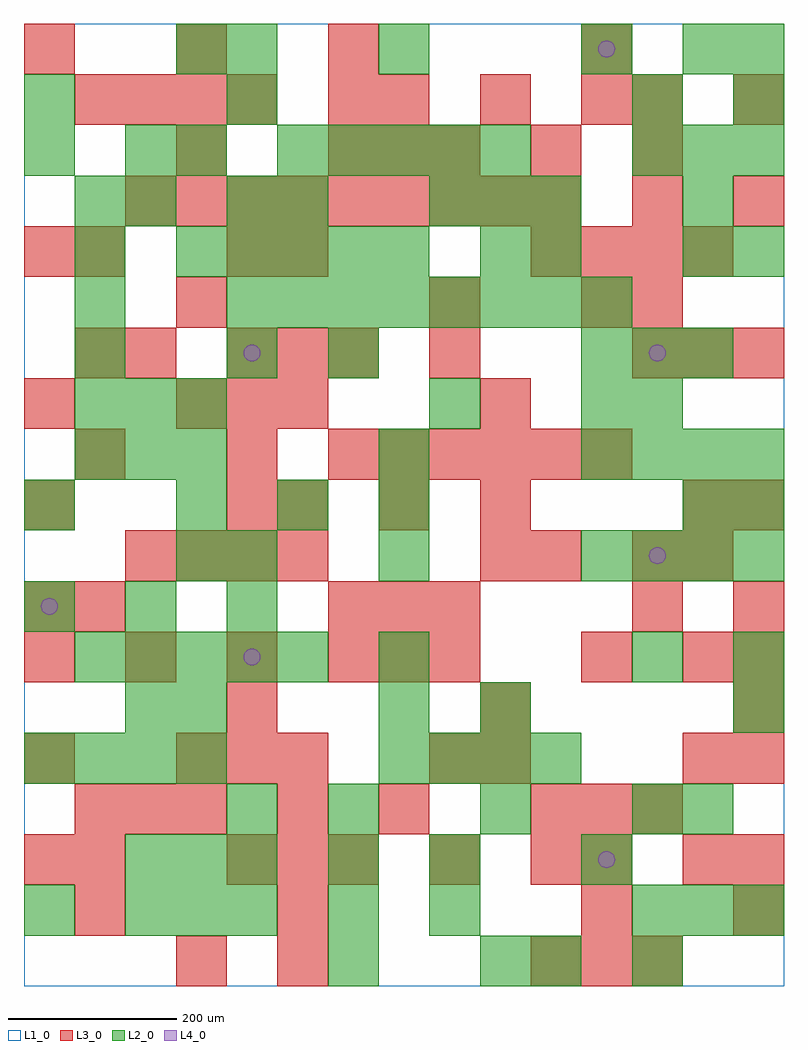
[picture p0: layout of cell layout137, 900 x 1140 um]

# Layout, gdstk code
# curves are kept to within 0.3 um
import gdstk
lib = gdstk.Library(unit=1e-6, precision=1e-09)
def R(c, l, rs):  # rectangles x0, y0, x1, y1
    for r in rs: c.add(gdstk.rectangle(r[:2], r[2:], *l))
def A(c, l, x, y, w, h, nx, ny, dx, dy):  # array of equal rectangles
    R(c, l, [(x+i*dx, y+j*dy, x+i*dx+w, y+j*dy+h) for i in range(nx) for j in range(ny)])
def P(c, l, *ps):  # polygons
    for p in ps: c.add(gdstk.Polygon(p, *l))
L1_0 = (1, 0)
L2_0 = (2, 0)
L3_0 = (3, 0)
L4_0 = (4, 0)

layout137 = lib.new_cell('layout137')
R(layout137, L1_0, [(0,0,900,1140)])
A(layout137, L2_0, 360, 0, 60, 60, 1, 3, 0, 60)
A(layout137, L2_0, 120, 60, 60, 60, 3, 2, 60, 60)
A(layout137, L2_0, 720, 60, 60, 60, 3, 2, 60, 900)
A(layout137, L2_0, 360, 180, 60, 60, 3, 1, 180, 0)
A(layout137, L2_0, 0, 240, 60, 60, 4, 1, 60, 0)
A(layout137, L2_0, 420, 240, 60, 60, 4, 1, 60, 0)
A(layout137, L2_0, 60, 360, 60, 60, 5, 1, 60, 0)
A(layout137, L2_0, 420, 360, 60, 60, 1, 3, 0, 120)
A(layout137, L2_0, 0, 420, 60, 60, 3, 1, 120, 0)
A(layout137, L2_0, 660, 480, 60, 60, 4, 2, 60, 120)
A(layout137, L2_0, 180, 540, 60, 60, 3, 1, 120, 0)
A(layout137, L2_0, 60, 600, 60, 60, 3, 2, 60, 60)
A(layout137, L2_0, 60, 720, 60, 60, 1, 4, 0, 60)
A(layout137, L2_0, 660, 720, 60, 60, 3, 1, 60, 0)
A(layout137, L2_0, 240, 780, 60, 60, 8, 1, 60, 0)
A(layout137, L2_0, 180, 840, 60, 60, 5, 1, 60, 0)
A(layout137, L2_0, 480, 900, 60, 60, 3, 1, 60, 0)
A(layout137, L2_0, 300, 960, 60, 60, 5, 1, 60, 0)
R(layout137, L2_0, [(540,0,600,60), (600,0,660,60), (720,0,780,60), (0,60,60,120), (480,60,540,120), (480,120,540,180), (660,120,720,180), (240,180,300,240), (780,180,840,240), (120,300,180,360), (180,300,240,360), (420,300,480,360), (540,300,600,360), (840,300,900,360), (720,360,780,420), (840,360,900,420), (180,480,240,540), (240,480,300,540), (0,540,60,600), (780,540,840,600), (840,540,900,600), (480,660,540,720), (660,660,720,720), (720,660,780,720), (240,720,300,780), (360,720,420,780), (540,840,600,900), (600,840,660,900), (780,840,840,900), (840,840,900,900), (120,900,180,960), (240,900,300,960), (300,900,360,960), (780,900,840,960), (0,960,60,1020), (120,960,180,1020), (180,960,240,1020), (0,1020,60,1080), (240,1020,300,1080), (720,1020,780,1080), (840,1020,900,1080), (180,1080,240,1140), (240,1080,300,1140), (420,1080,480,1140), (660,1080,720,1140), (780,1080,840,1140), (840,1080,900,1140)])
A(layout137, L3_0, 600, 0, 60, 60, 3, 2, 60, 180)
A(layout137, L3_0, 240, 120, 60, 60, 3, 2, 60, 600)
A(layout137, L3_0, 480, 120, 60, 60, 1, 3, 0, 120)
A(layout137, L3_0, 780, 120, 60, 60, 1, 4, 0, 120)
A(layout137, L3_0, 840, 120, 60, 60, 1, 3, 0, 120)
A(layout137, L3_0, 60, 180, 60, 60, 3, 1, 60, 0)
A(layout137, L3_0, 180, 240, 60, 60, 3, 2, 60, 420)
A(layout137, L3_0, 240, 300, 60, 60, 3, 1, 300, 0)
A(layout137, L3_0, 0, 360, 60, 60, 4, 1, 120, 0)
A(layout137, L3_0, 0, 420, 60, 60, 1, 3, 0, 120)
A(layout137, L3_0, 360, 420, 60, 60, 3, 2, 60, 540)
A(layout137, L3_0, 120, 480, 60, 60, 4, 1, 60, 0)
A(layout137, L3_0, 300, 540, 60, 60, 3, 1, 120, 0)
A(layout137, L3_0, 60, 600, 60, 60, 1, 3, 0, 120)
A(layout137, L3_0, 360, 600, 60, 60, 6, 1, 60, 0)
A(layout137, L3_0, 720, 720, 60, 60, 3, 1, 60, 0)
A(layout137, L3_0, 600, 840, 60, 60, 4, 1, 60, 0)
A(layout137, L3_0, 120, 900, 60, 60, 9, 1, 60, 0)
A(layout137, L3_0, 720, 900, 60, 60, 1, 3, 0, 60)
A(layout137, L3_0, 60, 1020, 60, 60, 4, 1, 60, 0)
A(layout137, L3_0, 420, 1020, 60, 60, 3, 1, 120, 0)
A(layout137, L3_0, 0, 1080, 60, 60, 3, 1, 180, 0)
R(layout137, L3_0, [(180,0,240,60), (300,0,360,60), (60,60,120,120), (300,60,360,120), (660,60,720,120), (840,60,900,120), (0,120,60,180), (60,120,120,180), (600,120,660,180), (660,120,720,180), (300,180,360,240), (420,180,480,240), (0,240,60,300), (540,240,600,300), (420,360,480,420), (660,360,720,420), (60,420,120,480), (720,420,780,480), (840,420,900,480), (540,480,600,540), (600,480,660,540), (720,480,780,540), (240,540,300,600), (780,540,840,600), (840,540,900,600), (240,600,300,660), (540,660,600,720), (120,720,180,780), (480,720,540,780), (180,780,240,840), (480,780,540,840), (660,780,720,840), (720,780,780,840), (0,840,60,900), (240,840,300,900), (300,840,360,900), (840,900,900,960), (180,960,240,1020), (600,960,660,1020), (360,1020,420,1080), (840,1020,900,1080), (660,1080,720,1140)])
P(layout137, L4_0, [(40,450),(39.239,453.827),(37.071,457.071),(33.827,459.239),(30,460),(26.173,459.239),(22.929,457.071),(20.761,453.827),(20,450),(20.761,446.173),(22.929,442.929),(26.173,440.761),(30,440),(33.827,440.761),(37.071,442.929),(39.239,446.173)],
  [(280,390),(279.239,393.827),(277.071,397.071),(273.827,399.239),(270,400),(266.173,399.239),(262.929,397.071),(260.761,393.827),(260,390),(260.761,386.173),(262.929,382.929),(266.173,380.761),(270,380),(273.827,380.761),(277.071,382.929),(279.239,386.173)],
  [(280,750),(279.239,753.827),(277.071,757.071),(273.827,759.239),(270,760),(266.173,759.239),(262.929,757.071),(260.761,753.827),(260,750),(260.761,746.173),(262.929,742.929),(266.173,740.761),(270,740),(273.827,740.761),(277.071,742.929),(279.239,746.173)],
  [(700,150),(699.239,153.827),(697.071,157.071),(693.827,159.239),(690,160),(686.173,159.239),(682.929,157.071),(680.761,153.827),(680,150),(680.761,146.173),(682.929,142.929),(686.173,140.761),(690,140),(693.827,140.761),(697.071,142.929),(699.239,146.173)],
  [(700,1110),(699.239,1113.827),(697.071,1117.071),(693.827,1119.239),(690,1120),(686.173,1119.239),(682.929,1117.071),(680.761,1113.827),(680,1110),(680.761,1106.173),(682.929,1102.929),(686.173,1100.761),(690,1100),(693.827,1100.761),(697.071,1102.929),(699.239,1106.173)],
  [(760,510),(759.239,513.827),(757.071,517.071),(753.827,519.239),(750,520),(746.173,519.239),(742.929,517.071),(740.761,513.827),(740,510),(740.761,506.173),(742.929,502.929),(746.173,500.761),(750,500),(753.827,500.761),(757.071,502.929),(759.239,506.173)],
  [(760,750),(759.239,753.827),(757.071,757.071),(753.827,759.239),(750,760),(746.173,759.239),(742.929,757.071),(740.761,753.827),(740,750),(740.761,746.173),(742.929,742.929),(746.173,740.761),(750,740),(753.827,740.761),(757.071,742.929),(759.239,746.173)])

lib.write_gds('layout137.gds')
